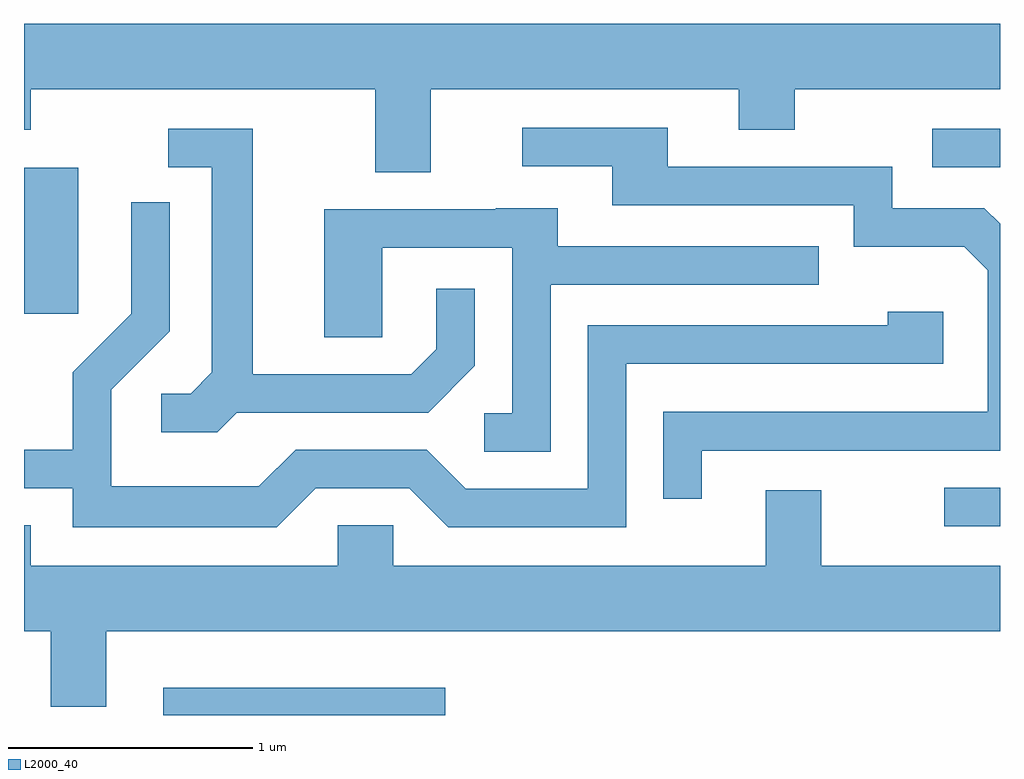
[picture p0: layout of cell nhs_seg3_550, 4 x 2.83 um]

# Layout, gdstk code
import gdstk
lib = gdstk.Library(unit=1e-6, precision=1e-09)
def R(c, l, rs):  # rectangles x0, y0, x1, y1
    for r in rs: c.add(gdstk.rectangle(r[:2], r[2:], *l))
def P(c, l, *ps):  # polygons
    for p in ps: c.add(gdstk.Polygon(p, *l))
L2000_40 = (2000, 40)

nhs_seg3_550 = lib.new_cell('nhs_seg3_550')
R(nhs_seg3_550, L2000_40, [(202.181,1127.892,203.338,1128.004), (205.383,1128.666,205.611,1128.824), (201.611,1129.536,201.834,1130.134), (205.333,1130.136,205.611,1130.294)])
P(nhs_seg3_550, L2000_40, [(203.279,1130.456),(204.541,1130.456),(204.541,1130.291),(204.769,1130.291),(204.769,1130.456),(205.611,1130.456),(205.611,1130.724),(201.611,1130.724),(201.611,1130.291),(201.639,1130.291),(201.639,1130.456),(203.051,1130.456),(203.051,1130.116),(203.279,1130.116)],
  [(204.389,1128.976),(205.611,1128.976),(205.611,1129.905),(205.547,1129.969),(205.169,1129.969),(205.169,1130.139),(204.249,1130.139),(204.249,1130.299),(203.653,1130.299),(203.653,1130.141),(204.021,1130.141),(204.021,1129.981),(205.011,1129.981),(205.011,1129.811),(205.464,1129.811),(205.561,1129.714),(205.561,1129.134),(204.231,1129.134),(204.231,1128.778),(204.389,1128.778)],
  [(202.482,1129.131),(203.267,1129.131),(203.459,1129.324),(203.459,1129.638),(203.301,1129.638),(203.301,1129.392),(203.199,1129.289),(202.549,1129.289),(202.549,1130.294),(202.203,1130.294),(202.203,1130.136),(202.381,1130.136),(202.381,1129.297),(202.294,1129.209),(202.173,1129.209),(202.173,1129.051),(202.402,1129.051)],
  [(202.807,1128.821),(203.189,1128.821),(203.349,1128.661),(204.079,1128.661),(204.079,1129.331),(205.379,1129.331),(205.379,1129.544),(205.151,1129.544),(205.151,1129.489),(203.921,1129.489),(203.921,1128.819),(203.422,1128.819),(203.262,1128.979),(202.724,1128.979),(202.574,1128.829),(201.969,1128.829),(201.969,1129.224),(202.209,1129.464),(202.209,1129.993),(202.051,1129.993),(202.051,1129.537),(201.811,1129.297),(201.811,1128.979),(201.611,1128.979),(201.611,1128.821),(201.811,1128.821),(201.811,1128.661),(202.647,1128.661)],
  [(203.769,1129.656),(204.868,1129.656),(204.868,1129.814),(203.799,1129.814),(203.799,1129.969),(203.545,1129.969),(203.545,1129.964),(202.841,1129.964),(202.841,1129.441),(203.079,1129.441),(203.079,1129.806),(203.611,1129.806),(203.611,1129.129),(203.498,1129.129),(203.498,1128.971),(203.769,1128.971)],
  [(201.639,1128.669),(201.611,1128.669),(201.611,1128.236),(201.721,1128.236),(201.721,1127.926),(201.949,1127.926),(201.949,1128.236),(205.611,1128.236),(205.611,1128.504),(204.879,1128.504),(204.879,1128.814),(204.651,1128.814),(204.651,1128.504),(203.124,1128.504),(203.124,1128.669),(202.896,1128.669),(202.896,1128.504),(201.639,1128.504)])

lib.write_gds('nhs_seg3_550.gds')
